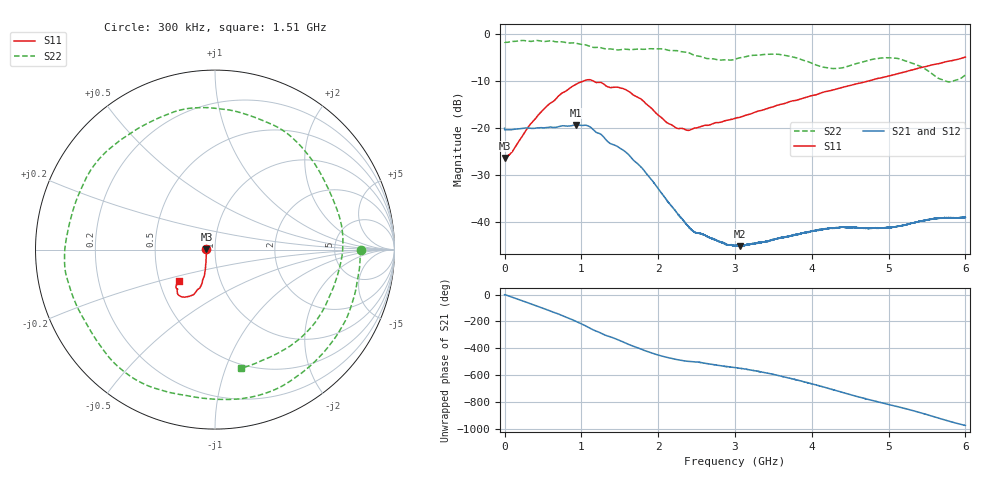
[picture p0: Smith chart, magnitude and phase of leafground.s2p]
!  8/6/2020  01:14:18
! Ref Plane: 0.000 mm
# MHZ S MA R  50
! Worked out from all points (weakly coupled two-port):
!   10001 points, 300 kHz to 6 GHz, reference 50 ohm
!   highest |S21| = -19.39 dB at 933.9 MHz (marker M1); lowest = -45.2 dB at 3.06 GHz (marker M2)
!   lowest |S11| = -26.4 dB at 900 kHz (marker M3), VSWR 1.10, Z = 45.4 + j0.0812 ohm
!   |S11| at or under -10 dB: start of sweep to 1.038 GHz; 1.148 GHz to 4.751 GHz (3.603 GHz wide, 122 % of centre)
!   |S22| runs from -10.2 to -1.4 dB; largest |S21 - S12| = 0.0022
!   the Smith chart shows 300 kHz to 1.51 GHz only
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0.3  0.04787 178.5  0.0988 -0.9  0.09657 -0.9  0.8159 -0.3
0.9  0.04773 178.9  0.09494 -0.4  0.09542 -0.3  0.8104 -0.5
288.2856  0.09667 -122.4  0.09959 -58.4  0.09972 -58.6  0.8393 -83.9
582.2709  0.1792 -112.1  0.1015 -120.3  0.1017 -120.3  0.8392 -168.3
933.8533  0.2912 -117.8  0.1073 158.8  0.1074 158.6  0.7923 93.2
1000.45  0.3068 -121.0  0.1058 141.0  0.1058 140.9  0.7699 73.6
1251.237  0.304 -135.6  0.08549 72.5  0.08556 72.4  0.7111 -0.3
1539.223  0.2617 -139.2  0.05815 7.2  0.05823 7.0  0.6827 -85.9
1783.411  0.2002 -142.5  0.03775 -48.8  0.03778 -48.8  0.6843 -153.6
2000.6  0.1363 -136.5  0.02244 -91.5  0.02244 -91.6  0.691 149.9
2255.587  0.09814 -109.7  0.01207 -126.4  0.01208 -126.7  0.6584 85.0
2536.373  0.1019 -75.8  0.007526 -145.5  0.007497 -145.8  0.5777 7.7
2781.761  0.1134 -56.7  0.006194 -168.3  0.00626 -168.5  0.5272 -68.6
3000.15  0.1258 -41.9  0.0055 174.8  0.005568 174.8  0.5352 -137.9
3059.547  0.1288 -37.8  0.005494 169.8  0.005586 169.6  0.5543 -155.4
3511.324  0.1684 -12.9  0.006481 123.0  0.006473 122.4  0.607 89.2
4000.3  0.2196 8.3  0.007911 54.1  0.007979 53.6  0.4861 -34.8
4474.276  0.2784 24.3  0.008676 -22.8  0.008671 -22.5  0.4521 172.9
4749.663  0.316 31.8  0.008523 -64.8  0.008506 -65.0  0.5254 98.9
5000.45  0.3557 38.6  0.008719 -100.4  0.008662 -100.4  0.554 41.0
5488.226  0.4484 47.5  0.01043 -174.0  0.01036 -173.9  0.4155 -74.7
6000  0.5645 53.4  0.0111 103.2  0.01113 103.2  0.3633 109.2
